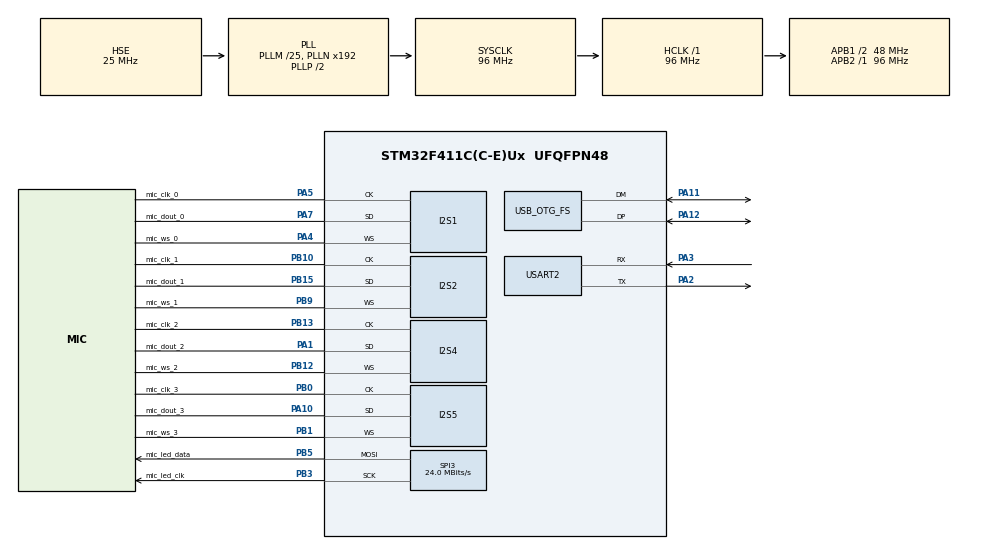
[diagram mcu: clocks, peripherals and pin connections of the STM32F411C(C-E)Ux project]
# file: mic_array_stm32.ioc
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Dma.Request0=SPI2_RX
Dma.Request1=SPI1_RX
Dma.Request2=SPI4_RX
Dma.Request3=SPI5_RX
Dma.SPI1_RX.1.Direction=DMA_PERIPH_TO_MEMORY
Dma.SPI1_RX.1.FIFOMode=DMA_FIFOMODE_DISABLE
Dma.SPI1_RX.1.Instance=DMA2_Stream0
Dma.SPI1_RX.1.MemDataAlignment=DMA_MDATAALIGN_HALFWORD
Dma.SPI1_RX.1.MemInc=DMA_MINC_ENABLE
Dma.SPI1_RX.1.Mode=DMA_CIRCULAR
Dma.SPI1_RX.1.PeriphDataAlignment=DMA_PDATAALIGN_HALFWORD
Dma.SPI1_RX.1.PeriphInc=DMA_PINC_DISABLE
Dma.SPI1_RX.1.Priority=DMA_PRIORITY_LOW
Dma.SPI2_RX.0.Direction=DMA_PERIPH_TO_MEMORY
Dma.SPI2_RX.0.FIFOMode=DMA_FIFOMODE_DISABLE
Dma.SPI2_RX.0.Instance=DMA1_Stream3
Dma.SPI2_RX.0.MemDataAlignment=DMA_MDATAALIGN_HALFWORD
Dma.SPI2_RX.0.MemInc=DMA_MINC_ENABLE
Dma.SPI2_RX.0.Mode=DMA_CIRCULAR
Dma.SPI2_RX.0.PeriphDataAlignment=DMA_PDATAALIGN_HALFWORD
Dma.SPI2_RX.0.PeriphInc=DMA_PINC_DISABLE
Dma.SPI2_RX.0.Priority=DMA_PRIORITY_LOW
Dma.SPI4_RX.2.Direction=DMA_PERIPH_TO_MEMORY
Dma.SPI4_RX.2.FIFOMode=DMA_FIFOMODE_DISABLE
Dma.SPI4_RX.2.Instance=DMA2_Stream3
Dma.SPI4_RX.2.MemDataAlignment=DMA_MDATAALIGN_HALFWORD
Dma.SPI4_RX.2.MemInc=DMA_MINC_ENABLE
Dma.SPI4_RX.2.Mode=DMA_CIRCULAR
Dma.SPI4_RX.2.PeriphDataAlignment=DMA_PDATAALIGN_HALFWORD
Dma.SPI4_RX.2.PeriphInc=DMA_PINC_DISABLE
Dma.SPI4_RX.2.Priority=DMA_PRIORITY_LOW
Dma.SPI5_RX.3.Direction=DMA_PERIPH_TO_MEMORY
Dma.SPI5_RX.3.FIFOMode=DMA_FIFOMODE_DISABLE
Dma.SPI5_RX.3.Instance=DMA2_Stream5
Dma.SPI5_RX.3.MemDataAlignment=DMA_MDATAALIGN_HALFWORD
Dma.SPI5_RX.3.MemInc=DMA_MINC_ENABLE
Dma.SPI5_RX.3.Mode=DMA_CIRCULAR
Dma.SPI5_RX.3.PeriphDataAlignment=DMA_PDATAALIGN_HALFWORD
Dma.SPI5_RX.3.PeriphInc=DMA_PINC_DISABLE
Dma.SPI5_RX.3.Priority=DMA_PRIORITY_LOW
I2S1.AudioFreq=I2S_AUDIOFREQ_48K
I2S1.DataFormat=I2S_DATAFORMAT_24B
I2S1.ErrorAudioFreq=-0.35 %
I2S1.FullDuplexMode=I2S_FULLDUPLEXMODE_DISABLE
I2S1.Instance=SPI$Index
I2S1.Mode=I2S_MODE_SLAVE_RX
I2S1.RealAudioFreq=47.831 KHz
I2S1.VirtualMode=I2S_MODE_SLAVE
I2S2.AudioFreq=I2S_AUDIOFREQ_48K
I2S2.DataFormat=I2S_DATAFORMAT_24B
I2S2.ErrorAudioFreq=-0.35 %
I2S2.FullDuplexMode=I2S_FULLDUPLEXMODE_DISABLE
I2S2.Instance=SPI$Index
I2S2.Mode=I2S_MODE_MASTER_RX
I2S2.RealAudioFreq=47.831 KHz
I2S2.VirtualMode=I2S_MODE_MASTER
I2S4.AudioFreq=I2S_AUDIOFREQ_48K
I2S4.DataFormat=I2S_DATAFORMAT_24B
I2S4.ErrorAudioFreq=-0.35 %
I2S4.FullDuplexMode=I2S_FULLDUPLEXMODE_DISABLE
I2S4.Instance=SPI$Index
I2S4.Mode=I2S_MODE_SLAVE_RX
I2S4.RealAudioFreq=47.831 KHz
I2S4.VirtualMode=I2S_MODE_SLAVE
I2S5.AudioFreq=I2S_AUDIOFREQ_48K
I2S5.DataFormat=I2S_DATAFORMAT_24B
I2S5.ErrorAudioFreq=-0.35 %
I2S5.FullDuplexMode=I2S_FULLDUPLEXMODE_DISABLE
I2S5.Instance=SPI$Index
I2S5.Mode=I2S_MODE_SLAVE_RX
I2S5.RealAudioFreq=47.831 KHz
I2S5.VirtualMode=I2S_MODE_SLAVE
Mcu.Family=STM32F4
Mcu.Name=STM32F411C(C-E)Ux
Mcu.Package=UFQFPN48
NVIC.DMA1_Stream3_IRQn=true\:0\:0\:false\:false\:true\:false\:true\:true
NVIC.DMA2_Stream0_IRQn=true\:0\:0\:false\:false\:true\:false\:true\:true
NVIC.DMA2_Stream3_IRQn=true\:0\:0\:false\:false\:true\:false\:true\:true
NVIC.DMA2_Stream5_IRQn=true\:0\:0\:false\:false\:true\:false\:true\:true
NVIC.OTG_FS_IRQn=true\:0\:0\:false\:false\:true\:true\:true\:true
NVIC.PriorityGroup=NVIC_PRIORITYGROUP_4
NVIC.SPI1_IRQn=true\:0\:0\:false\:false\:true\:true\:true\:true
NVIC.SPI2_IRQn=true\:0\:0\:false\:false\:true\:true\:true\:true
NVIC.SPI3_IRQn=true\:0\:0\:false\:false\:true\:true\:true\:true
PA1.GPIO_Label=mic_dout_2
PA1.Mode=Half_Duplex_Slave
PA1.Signal=I2S4_SD
PA10.GPIO_Label=mic_dout_3
PA10.Mode=Half_Duplex_Slave
PA10.Signal=I2S5_SD
PA11.Mode=Device_Only
PA11.Signal=USB_OTG_FS_DM
PA12.Mode=Device_Only
PA12.Signal=USB_OTG_FS_DP
PA13.Mode=Serial_Wire
PA13.Signal=SYS_JTMS-SWDIO
PA14.Mode=Serial_Wire
PA14.Signal=SYS_JTCK-SWCLK
PA2.Mode=Asynchronous
PA2.Signal=USART2_TX
PA3.Mode=Asynchronous
PA3.Signal=USART2_RX
PA4.GPIO_Label=mic_ws_0
PA4.Mode=Half_Duplex_Slave
PA4.Signal=I2S1_WS
PA5.GPIO_Label=mic_clk_0
PA5.Mode=Half_Duplex_Slave
PA5.Signal=I2S1_CK
PA7.GPIO_Label=mic_dout_0
PA7.Mode=Half_Duplex_Slave
PA7.Signal=I2S1_SD
PB0.GPIO_Label=mic_clk_3
PB0.Mode=Half_Duplex_Slave
PB0.Signal=I2S5_CK
PB1.GPIO_Label=mic_ws_3
PB1.Mode=Half_Duplex_Slave
PB1.Signal=I2S5_WS
PB10.GPIO_Label=mic_clk_1
PB10.Mode=Half_Duplex_Master
PB10.Signal=I2S2_CK
PB12.GPIO_Label=mic_ws_2
PB12.Mode=Half_Duplex_Slave
PB12.Signal=I2S4_WS
PB13.GPIO_Label=mic_clk_2
PB13.Mode=Half_Duplex_Slave
PB13.Signal=I2S4_CK
PB15.GPIO_Label=mic_dout_1
PB15.Mode=Half_Duplex_Master
PB15.Signal=I2S2_SD
PB3.GPIO_Label=mic_led_clk
PB3.Mode=TX_Only_Simplex_Unidirect_Master
PB3.Signal=SPI3_SCK
PB5.GPIO_Label=mic_led_data
PB5.Mode=TX_Only_Simplex_Unidirect_Master
PB5.Signal=SPI3_MOSI
PB9.GPIO_Label=mic_ws_1
PB9.Mode=Half_Duplex_Master
PB9.Signal=I2S2_WS
PH0\ -\ OSC_IN.Mode=HSE-External-Oscillator
PH0\ -\ OSC_IN.Signal=RCC_OSC_IN
PH1\ -\ OSC_OUT.Mode=HSE-External-Oscillator
PH1\ -\ OSC_OUT.Signal=RCC_OSC_OUT
ProjectManager.HeapSize=0x200
ProjectManager.StackSize=0x400
ProjectManager.TargetToolchain=STM32CubeIDE
RCC.48MHZClocksFreq_Value=48000000
RCC.AHBFreq_Value=96000000
RCC.APB1CLKDivider=RCC_HCLK_DIV2
RCC.APB1Freq_Value=48000000
RCC.APB1TimFreq_Value=96000000
RCC.APB2Freq_Value=96000000
RCC.APB2TimFreq_Value=96000000
RCC.CortexFreq_Value=96000000
RCC.HCLKFreq_Value=96000000
RCC.HSE_VALUE=25000000
RCC.HSI_VALUE=16000000
RCC.LSE_VALUE=32768
RCC.PLLM=25
RCC.SYSCLKFreq_VALUE=96000000
RCC.SYSCLKSource=RCC_SYSCLKSOURCE_PLLCLK
RCC.VCOOutputFreq_Value=192000000
SPI3.BaudRatePrescaler=SPI_BAUDRATEPRESCALER_2
SPI3.CalculateBaudRate=24.0 MBits/s
SPI3.Direction=SPI_DIRECTION_2LINES
SPI3.Mode=SPI_MODE_MASTER
SPI3.VirtualType=VM_MASTER
USART2.VirtualMode=VM_ASYNC
USB_DEVICE.CLASS_NAME_FS=AUDIO
USB_DEVICE.PRODUCT_STRING_AUDIO_FS=STM32 Microphone
USB_DEVICE.USBD_AUDIO_FREQ=48000
USB_DEVICE.VirtualMode=Audio
USB_DEVICE.VirtualModeFS=Audio_FS
USB_OTG_FS.VirtualMode=Device_Only
VP_USB_DEVICE_VS_USB_DEVICE_AUDIO_FS.Mode=AUDIO_FS
board=custom

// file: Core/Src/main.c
/* USER CODE BEGIN Header */
/**
  ******************************************************************************
  * @file           : main.c
  * @brief          : Main program body
  ******************************************************************************
  * @attention
  *
  * Copyright (c) 2025 STMicroelectronics.
  * All rights reserved.
  *
  * This software is licensed under terms that can be found in the LICENSE file
  * in the root directory of this software component.
  * If no LICENSE file comes with this software, it is provided AS-IS.
  *
  ******************************************************************************
  */
/* USER CODE END Header */
#include "main.h"
#include "usb_device.h"

/* USER CODE BEGIN Includes */
#include "UAC.h"
#include "MIC_ARRAY.h"
#include "audio.h"
#include "usbd_audio_if.h"
#include <math.h>
#include <stdlib.h>
#include <string.h>
/* USER CODE END Includes */

I2S_HandleTypeDef hi2s1;
I2S_HandleTypeDef hi2s2;
I2S_HandleTypeDef hi2s4;
I2S_HandleTypeDef hi2s5;
DMA_HandleTypeDef hdma_spi1_rx;
DMA_HandleTypeDef hdma_spi2_rx;
DMA_HandleTypeDef hdma_spi4_rx;
DMA_HandleTypeDef hdma_spi5_rx;

SPI_HandleTypeDef hspi3;

UART_HandleTypeDef huart2;

/* USER CODE BEGIN PV */
/* USB Device Handle */
extern USBD_HandleTypeDef hUsbDeviceFS;

/* Mic Array Variables */
MIC_ARRAY_HandleTypeDef hmic_array;
MIC_ARRAY_Config_t mic_array_config;
uint8_t mic_array_initialized = 0;

/* UAC Variables */
UAC_HandleTypeDef huac;
UAC_AudioConfig_t audio_config;
uint8_t uac_initialized = 0;
uint8_t test_mode = 1;  /* 0=silence, 1=sine, 2=square, 3=noise */

/* Test Phase Variables */
uint8_t test_phase = 0;  /* 0: Test tone phase, 1: Microphone phase */
uint32_t test_start_time = 0;

/* Audio Processing Variables */
uint16_t mic_audio_buffer[MIC_ARRAY_BUFFER_SIZE];
uint16_t usb_audio_buffer[UAC_AUDIO_BUFFER_SIZE / 2];
uint8_t use_mic_array = 1;  /* 1=use mic array, 0=use test sound */
/* USER CODE END PV */

void SystemClock_Config(void);
void PeriphCommonClock_Config(void);
static void MX_GPIO_Init(void);
static void MX_DMA_Init(void);
static void MX_I2S1_Init(void);
static void MX_I2S2_Init(void);
static void MX_I2S4_Init(void);
static void MX_I2S5_Init(void);
static void MX_SPI3_Init(void);
static void MX_USART2_UART_Init(void);
/* USER CODE BEGIN PFP */
void UAC_Init_Microphone(void);
void UAC_Test_Audio(void);
/* USER CODE END PFP */

/* USER CODE BEGIN 0 */

/**
  * @brief  Redirect printf to UART2
  * @param  ch: Character to send
  * @retval Character sent
  */
int __io_putchar(int ch)
{
    HAL_UART_Transmit(&huart2, (uint8_t *)&ch, 1, HAL_MAX_DELAY);
    return ch;
}

/**
  * @brief  Redirect getchar from UART2
  * @retval Character received
  */
int __io_getchar(void)
{
    uint8_t ch;
    HAL_UART_Receive(&huart2, &ch, 1, HAL_MAX_DELAY);
    return ch;
}

/* USER CODE END 0 */

int main(void)
{

  /* MCU Configuration--------------------------------------------------------*/

  /* Reset of all peripherals, Initializes the Flash interface and the Systick. */
  HAL_Init();

  /* Configure the system clock */
  SystemClock_Config();

  /* Configure the peripherals common clocks */
  PeriphCommonClock_Config();

  /* Initialize all configured peripherals */
  MX_GPIO_Init();
  MX_DMA_Init();
  MX_I2S1_Init();
  MX_I2S2_Init();
  MX_I2S4_Init();
  MX_I2S5_Init();
  MX_SPI3_Init();
  MX_USART2_UART_Init();

  /* USER CODE BEGIN 2 */
  /* Test UART first */
  uint8_t test_msg[] = "STM32 Boot Complete!\r\n";
  HAL_UART_Transmit(&huart2, test_msg, sizeof(test_msg)-1, 1000);

  /* Initialize USB Device FIRST */
  MX_USB_DEVICE_Init();
  HAL_Delay(100);  // Wait for USB to be ready

  uint8_t usb_msg[] = "USB Device Initialized\r\n";
  HAL_UART_Transmit(&huart2, usb_msg, sizeof(usb_msg)-1, 1000);

  /* Initialize UAC Microphone */
  uint8_t uac_msg[] = "Starting UAC_Init_Microphone...\r\n";
  HAL_UART_Transmit(&huart2, uac_msg, sizeof(uac_msg)-1, 1000);

  UAC_Init_Microphone();

  uint8_t uac_done_msg[] = "UAC_Init_Microphone completed\r\n";
  HAL_UART_Transmit(&huart2, uac_done_msg, sizeof(uac_done_msg)-1, 1000);

  /* Initialize Mic Array */
  uint8_t mic_msg[] = "Starting MIC_ARRAY_Init_Microphones...\r\n";
  HAL_UART_Transmit(&huart2, mic_msg, sizeof(mic_msg)-1, 1000);

  MIC_ARRAY_Init_Microphones();

  uint8_t mic_done_msg[] = "MIC_ARRAY_Init_Microphones completed\r\n";
  HAL_UART_Transmit(&huart2, mic_done_msg, sizeof(mic_done_msg)-1, 1000);
  /* USER CODE END 2 */

  /* Infinite loop */
  while (1)
  {

    /* USER CODE BEGIN 3 */
    /* Process Audio Data */
    if (uac_initialized) {
      static uint32_t debug_timer = 0;

      // Send audio data via USB
      UAC_ProcessAudioData(&huac, huac.audio_buffer, UAC_AUDIO_BUFFER_SIZE);

      // Force USB transmission periodically for faster processing (100x faster)
      Audio_USB_Force_Transmit_Periodic();
      Audio_USB_Force_Transmit_Periodic();  // Double call for maximum speed
      Audio_USB_Force_Transmit_Periodic();  // Triple call for maximum speed

      // Debug output every 5 seconds
      if (HAL_GetTick() - debug_timer > 5000) {
        printf("Audio Status: UAC(conf=%d,str=%d), MicArray(init=%d,str=%d), use_mic=%d\r\n",
               huac.is_configured, huac.is_streaming,
               mic_array_initialized, MIC_ARRAY_GetStatus(&hmic_array),
               use_mic_array);
        debug_timer = HAL_GetTick();
      }
    }

    /* Minimal delay to prevent overwhelming the system while maintaining real-time performance */
    HAL_Delay(0);  // No delay for maximum performance
  }
  /* USER CODE END 3 */
}

void SystemClock_Config(void)
{
  RCC_OscInitTypeDef RCC_OscInitStruct = {0};
  RCC_ClkInitTypeDef RCC_ClkInitStruct = {0};

  /** Configure the main internal regulator output voltage
  */
  __HAL_RCC_PWR_CLK_ENABLE();
  __HAL_PWR_VOLTAGESCALING_CONFIG(PWR_REGULATOR_VOLTAGE_SCALE1);

  /** Initializes the RCC Oscillators according to the specified parameters
  * in the RCC_OscInitTypeDef structure.
  */
  RCC_OscInitStruct.OscillatorType = RCC_OSCILLATORTYPE_HSE;
  RCC_OscInitStruct.HSEState = RCC_HSE_ON;
  RCC_OscInitStruct.PLL.PLLState = RCC_PLL_ON;
  RCC_OscInitStruct.PLL.PLLSource = RCC_PLLSOURCE_HSE;
  RCC_OscInitStruct.PLL.PLLM = 25;
  RCC_OscInitStruct.PLL.PLLN = 192;
  RCC_OscInitStruct.PLL.PLLP = RCC_PLLP_DIV2;
  RCC_OscInitStruct.PLL.PLLQ = 4;
  if (HAL_RCC_OscConfig(&RCC_OscInitStruct) != HAL_OK)
  {
    Error_Handler();
  }

  /** Initializes the CPU, AHB and APB buses clocks
  */
  RCC_ClkInitStruct.ClockType = RCC_CLOCKTYPE_HCLK|RCC_CLOCKTYPE_SYSCLK
                              |RCC_CLOCKTYPE_PCLK1|RCC_CLOCKTYPE_PCLK2;
  RCC_ClkInitStruct.SYSCLKSource = RCC_SYSCLKSOURCE_PLLCLK;
  RCC_ClkInitStruct.AHBCLKDivider = RCC_SYSCLK_DIV1;
  RCC_ClkInitStruct.APB1CLKDivider = RCC_HCLK_DIV2;
  RCC_ClkInitStruct.APB2CLKDivider = RCC_HCLK_DIV1;

  if (HAL_RCC_ClockConfig(&RCC_ClkInitStruct, FLASH_LATENCY_3) != HAL_OK)
  {
    Error_Handler();
  }
}

void PeriphCommonClock_Config(void)
{
  RCC_PeriphCLKInitTypeDef PeriphClkInitStruct = {0};

  /** Initializes the peripherals clock
  */
  PeriphClkInitStruct.PeriphClockSelection = RCC_PERIPHCLK_I2S;
  PeriphClkInitStruct.PLLI2S.PLLI2SN = 192;
  PeriphClkInitStruct.PLLI2S.PLLI2SM = 16;
  PeriphClkInitStruct.PLLI2S.PLLI2SR = 2;
  if (HAL_RCCEx_PeriphCLKConfig(&PeriphClkInitStruct) != HAL_OK)
  {
    Error_Handler();
  }
}

static void MX_I2S1_Init(void)
{

  hi2s1.Instance = SPI1;
  hi2s1.Init.Mode = I2S_MODE_SLAVE_RX;
  hi2s1.Init.Standard = I2S_STANDARD_PHILIPS;
  hi2s1.Init.DataFormat = I2S_DATAFORMAT_24B;
  hi2s1.Init.MCLKOutput = I2S_MCLKOUTPUT_DISABLE;
  hi2s1.Init.AudioFreq = I2S_AUDIOFREQ_48K;
  hi2s1.Init.CPOL = I2S_CPOL_LOW;
  hi2s1.Init.ClockSource = I2S_CLOCK_PLL;
  hi2s1.Init.FullDuplexMode = I2S_FULLDUPLEXMODE_DISABLE;
  if (HAL_I2S_Init(&hi2s1) != HAL_OK)
  {
    Error_Handler();
  }

}

static void MX_I2S2_Init(void)
{

  hi2s2.Instance = SPI2;
  hi2s2.Init.Mode = I2S_MODE_MASTER_RX;
  hi2s2.Init.Standard = I2S_STANDARD_PHILIPS;
  hi2s2.Init.DataFormat = I2S_DATAFORMAT_16B;  // Changed to 16-bit for better performance
  hi2s2.Init.MCLKOutput = I2S_MCLKOUTPUT_DISABLE;
  hi2s2.Init.AudioFreq = I2S_AUDIOFREQ_48K;
  hi2s2.Init.CPOL = I2S_CPOL_LOW;
  hi2s2.Init.ClockSource = I2S_CLOCK_PLL;
  hi2s2.Init.FullDuplexMode = I2S_FULLDUPLEXMODE_DISABLE;
  if (HAL_I2S_Init(&hi2s2) != HAL_OK)
  {
    Error_Handler();
  }

}

static void MX_I2S4_Init(void)
{

  hi2s4.Instance = SPI4;
  hi2s4.Init.Mode = I2S_MODE_SLAVE_RX;
  hi2s4.Init.Standard = I2S_STANDARD_PHILIPS;
  hi2s4.Init.DataFormat = I2S_DATAFORMAT_24B;
  hi2s4.Init.MCLKOutput = I2S_MCLKOUTPUT_DISABLE;
  hi2s4.Init.AudioFreq = I2S_AUDIOFREQ_48K;
  hi2s4.Init.CPOL = I2S_CPOL_LOW;
  hi2s4.Init.ClockSource = I2S_CLOCK_PLL;
  hi2s4.Init.FullDuplexMode = I2S_FULLDUPLEXMODE_DISABLE;
  if (HAL_I2S_Init(&hi2s4) != HAL_OK)
  {
    Error_Handler();
  }

}

static void MX_I2S5_Init(void)
{

  hi2s5.Instance = SPI5;
  hi2s5.Init.Mode = I2S_MODE_SLAVE_RX;
  hi2s5.Init.Standard = I2S_STANDARD_PHILIPS;
  hi2s5.Init.DataFormat = I2S_DATAFORMAT_24B;
  hi2s5.Init.MCLKOutput = I2S_MCLKOUTPUT_DISABLE;
  hi2s5.Init.AudioFreq = I2S_AUDIOFREQ_48K;
  hi2s5.Init.CPOL = I2S_CPOL_LOW;
  hi2s5.Init.ClockSource = I2S_CLOCK_PLL;
  hi2s5.Init.FullDuplexMode = I2S_FULLDUPLEXMODE_DISABLE;
  if (HAL_I2S_Init(&hi2s5) != HAL_OK)
  {
    Error_Handler();
  }

}

static void MX_SPI3_Init(void)
{

  /* SPI3 parameter configuration*/
  hspi3.Instance = SPI3;
  hspi3.Init.Mode = SPI_MODE_MASTER;
  hspi3.Init.Direction = SPI_DIRECTION_2LINES;
  hspi3.Init.DataSize = SPI_DATASIZE_8BIT;
  hspi3.Init.CLKPolarity = SPI_POLARITY_LOW;
  hspi3.Init.CLKPhase = SPI_PHASE_1EDGE;
  hspi3.Init.NSS = SPI_NSS_SOFT;
  hspi3.Init.BaudRatePrescaler = SPI_BAUDRATEPRESCALER_2;
  hspi3.Init.FirstBit = SPI_FIRSTBIT_MSB;
  hspi3.Init.TIMode = SPI_TIMODE_DISABLE;
  hspi3.Init.CRCCalculation = SPI_CRCCALCULATION_DISABLE;
  hspi3.Init.CRCPolynomial = 10;
  if (HAL_SPI_Init(&hspi3) != HAL_OK)
  {
    Error_Handler();
  }

}

static void MX_USART2_UART_Init(void)
{

  huart2.Instance = USART2;
  huart2.Init.BaudRate = 115200;
  huart2.Init.WordLength = UART_WORDLENGTH_8B;
  huart2.Init.StopBits = UART_STOPBITS_1;
  huart2.Init.Parity = UART_PARITY_NONE;
  huart2.Init.Mode = UART_MODE_TX_RX;
  huart2.Init.HwFlowCtl = UART_HWCONTROL_NONE;
  huart2.Init.OverSampling = UART_OVERSAMPLING_16;
  if (HAL_UART_Init(&huart2) != HAL_OK)
  {
    Error_Handler();
  }

}

static void MX_DMA_Init(void)
{

  /* DMA controller clock enable */
  __HAL_RCC_DMA1_CLK_ENABLE();
  __HAL_RCC_DMA2_CLK_ENABLE();

  /* DMA interrupt init */
  /* DMA1_Stream3_IRQn interrupt configuration - Higher priority for I2S2 (microphone) */
  HAL_NVIC_SetPriority(DMA1_Stream3_IRQn, 0, 0);  // Highest priority for I2S2
  HAL_NVIC_EnableIRQ(DMA1_Stream3_IRQn);
  /* DMA2_Stream0_IRQn interrupt configuration - Medium priority for I2S1 */
  HAL_NVIC_SetPriority(DMA2_Stream0_IRQn, 1, 0);
  HAL_NVIC_EnableIRQ(DMA2_Stream0_IRQn);
  /* DMA2_Stream3_IRQn interrupt configuration - Medium priority for I2S4 */
  HAL_NVIC_SetPriority(DMA2_Stream3_IRQn, 1, 0);
  HAL_NVIC_EnableIRQ(DMA2_Stream3_IRQn);
  /* DMA2_Stream5_IRQn interrupt configuration - Medium priority for I2S5 */
  HAL_NVIC_SetPriority(DMA2_Stream5_IRQn, 1, 0);
  HAL_NVIC_EnableIRQ(DMA2_Stream5_IRQn);

}

static void MX_GPIO_Init(void)
{

  /* GPIO Ports Clock Enable */
  __HAL_RCC_GPIOH_CLK_ENABLE();
  __HAL_RCC_GPIOA_CLK_ENABLE();
  __HAL_RCC_GPIOB_CLK_ENABLE();

}

/* USER CODE BEGIN 4 */

/**
  * @brief  Initialize Mic Array Microphones
  * @retval None
  */
void MIC_ARRAY_Init_Microphones(void)
{
    // Configure parameters
    mic_array_config.sample_rate = 48000;    // 48kHz
    mic_array_config.channels = 4;           // 4 microphones
    mic_array_config.bits_per_sample = 16;   // 16-bit
    mic_array_config.buffer_size = MIC_ARRAY_BUFFER_SIZE; // 512 samples
    mic_array_config.mic_count = 4;

    // Initialize mic array
    MIC_ARRAY_Init(&hmic_array, &hi2s2, &mic_array_config);
    // Start streaming - this will start I2S DMA
    HAL_StatusTypeDef status = MIC_ARRAY_StartStreaming(&hmic_array);
    if (status == HAL_OK) {
        printf("MIC_ARRAY_StartStreaming: SUCCESS\r\n");
    } else {
        printf("MIC_ARRAY_StartStreaming: FAILED (%d)\r\n", status);
    }

    mic_array_initialized = 1;
    printf("Mic Array initialized successfully!\r\n");
}

/**
  * @brief  Process Mic Array Audio
  * @retval None
  */
void MIC_ARRAY_Process_Audio(void)
{
    // Audio processing is now handled by I2S callbacks in MIC_ARRAY.c
    // This function is kept for compatibility but does nothing
    // The I2S callbacks automatically process audio data and send to USB
}

/**
  * @brief  Initialize UAC Microphone
  * @author  Nhan Vo
  * @date    2025-09-14
  * @retval None
  */
void UAC_Init_Microphone(void)
{
  HAL_StatusTypeDef status;

  /* Configure audio parameters for microphone */
  audio_config.format = UAC_FORMAT_PCM;
  audio_config.sample_rate = UAC_SAMPLE_RATE_48K;
  audio_config.channels = 1;  /* Mono microphone */
  audio_config.bits_per_sample = 16;
  audio_config.frame_size = 2; /* 16-bit = 2 bytes per sample */

  /* Initialize UAC device */
  status = UAC_Init(&huac, &hUsbDeviceFS, &audio_config);
  if (status == HAL_OK) {
    printf("UAC Init successful\r\n");

    /* Set audio data callback (optional) */
    UAC_SetAudioDataCallback(&huac, NULL);

    /* Start audio streaming */
    status = UAC_StartStreaming(&huac);
    if (status == HAL_OK) {
      uac_initialized = 1;
      printf("UAC Microphone initialized successfully!\r\n");
      printf("UAC is_configured: %d, is_streaming: %d\r\n", huac.is_configured, huac.is_streaming);

      /* Initialize audio system */
      Audio_Init_Live_Mode();
      // Don't start Audio_Start_Live_Mode() - let MIC_ARRAY handle I2S
      Audio_UnMute();

      printf("Audio system initialized and ready!\r\n");
      printf("USB Streaming Status: Active=%d\r\n", huac.is_streaming);

      /* Start microphone transmission */
      HAL_Delay(100);  // Wait for USB to be ready
      extern void AUDIO_Start_Microphone_Transmission(void);
      AUDIO_Start_Microphone_Transmission();

      /* Send test message via UART */
      uint8_t msg[] = "UAC Microphone initialized successfully!\r\n";
      HAL_UART_Transmit(&huart2, msg, sizeof(msg)-1, 1000);
    } else {
      printf("UAC StartStreaming failed: %d\r\n", status);
    }
  }
}

/**
  * @brief  UAC Audio Test Function
  * @author  Nhan Vo
  * @date    2025-09-14
  * @retval None
  */
void UAC_Test_Audio(void)
{
  uint32_t current_time = HAL_GetTick();

  /* Initialize test start time on first call */
  if (test_start_time == 0) {
    test_start_time = current_time;
    test_phase = 0; /* Start with test tone phase */
    printf("Starting 10-second test tone phase...\r\n");
  }

  /* Check if 10 seconds have passed */
  if ((current_time - test_start_time) >= 10000 && test_phase == 0) {
    test_phase = 1; /* Switch to microphone phase */
    printf("Test tone phase completed. Switching to microphone mode...\r\n");

    /* Start microphone processing */
    MIC_ARRAY_Init_Microphones();

    /* Send phase change message via UART */
    uint8_t msg[] = "Switching to microphone mode\r\n";
    HAL_UART_Transmit(&huart2, msg, sizeof(msg)-1, 100);
  }

  /* In test tone phase - generate test tone */
  if (test_phase == 0) {
    Audio_Generate_Test_Tone();
  }
  /* In microphone phase - process microphone data */
  else if (test_phase == 1) {
    MIC_ARRAY_Process_Audio();
  }
}

/* USER CODE END 4 */

void Error_Handler(void)
{
  __disable_irq();
  while (1)
  {
  }
}
